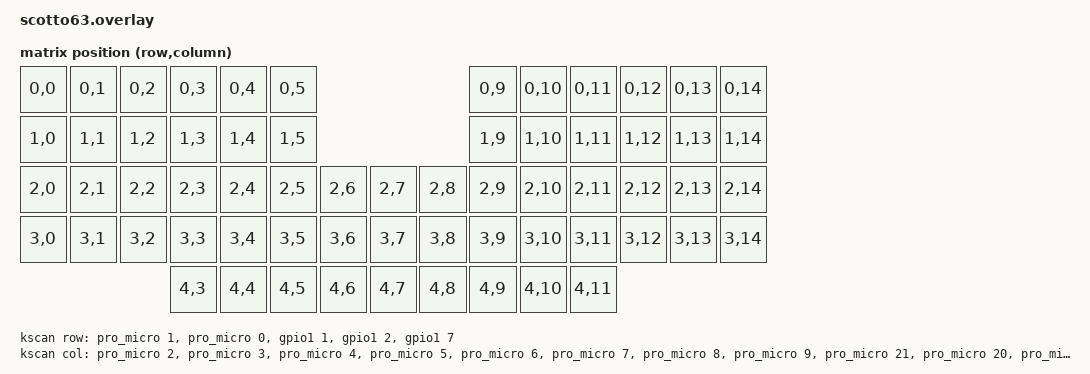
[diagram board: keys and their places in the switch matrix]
#include <dt-bindings/zmk/matrix_transform.h>

/ {
    chosen {
        zmk,kscan = &kscan;
        zmk,matrix_transform = &transform;
    };

    kscan: kscan {
        compatible = "zmk,kscan-gpio-matrix";
        label = "KSCAN";
        diode-direction = "col2row";

        row-gpios = <&pro_micro 1 (GPIO_ACTIVE_HIGH | GPIO_PULL_DOWN)>,
                    <&pro_micro 0 (GPIO_ACTIVE_HIGH | GPIO_PULL_DOWN)>,
                    <&gpio1 1 (GPIO_ACTIVE_HIGH | GPIO_PULL_DOWN)>,
                    <&gpio1 2 (GPIO_ACTIVE_HIGH | GPIO_PULL_DOWN)>,
                    <&gpio1 7 (GPIO_ACTIVE_HIGH | GPIO_PULL_DOWN)>;

        col-gpios = <&pro_micro 2 (GPIO_ACTIVE_HIGH)>,
                    <&pro_micro 3 (GPIO_ACTIVE_HIGH)>,
                    <&pro_micro 4 (GPIO_ACTIVE_HIGH)>,
                    <&pro_micro 5 (GPIO_ACTIVE_HIGH)>,
                    <&pro_micro 6 (GPIO_ACTIVE_HIGH)>,
                    <&pro_micro 7 (GPIO_ACTIVE_HIGH)>,
                    <&pro_micro 8 (GPIO_ACTIVE_HIGH)>,
                    <&pro_micro 9 (GPIO_ACTIVE_HIGH)>,
                    <&pro_micro 21 (GPIO_ACTIVE_HIGH)>,
                    <&pro_micro 20 (GPIO_ACTIVE_HIGH)>,
                    <&pro_micro 19 (GPIO_ACTIVE_HIGH)>,
                    <&pro_micro 18 (GPIO_ACTIVE_HIGH)>,
                    <&pro_micro 15 (GPIO_ACTIVE_HIGH)>,
                    <&pro_micro 14(GPIO_ACTIVE_HIGH)>,
                    <&pro_micro 16 (GPIO_ACTIVE_HIGH)>;
    };

    transform: matrix_transform {
        compatible = "zmk,matrix-transform";
        rows = <5>;
        columns = <15>;

        map = <
                RC(0, 0) RC(0, 1) RC(0, 2) RC(0, 3) RC(0, 4) RC(0, 5)                            RC(0, 9) RC(0, 10) RC(0, 11) RC(0, 12) RC(0, 13) RC(0, 14)
                RC(1, 0) RC(1, 1) RC(1, 2) RC(1, 3) RC(1, 4) RC(1, 5)                            RC(1, 9) RC(1, 10) RC(1, 11) RC(1, 12) RC(1, 13) RC(1, 14)
                RC(2, 0) RC(2, 1) RC(2, 2) RC(2, 3) RC(2, 4) RC(2, 5) RC(2, 6) RC(2, 7) RC(2, 8) RC(2, 9) RC(2, 10) RC(2, 11) RC(2, 12) RC(2, 13) RC(2, 14)
                RC(3, 0) RC(3, 1) RC(3, 2) RC(3, 3) RC(3, 4) RC(3, 5) RC(3, 6) RC(3, 7) RC(3, 8) RC(3, 9) RC(3, 10) RC(3, 11) RC(3, 12) RC(3, 13) RC(3, 14)
                                           RC(4, 3) RC(4, 4) RC(4, 5) RC(4, 6) RC(4, 7) RC(4, 8) RC(4, 9) RC(4, 10) RC(4, 11) 
        >;
    };
};
